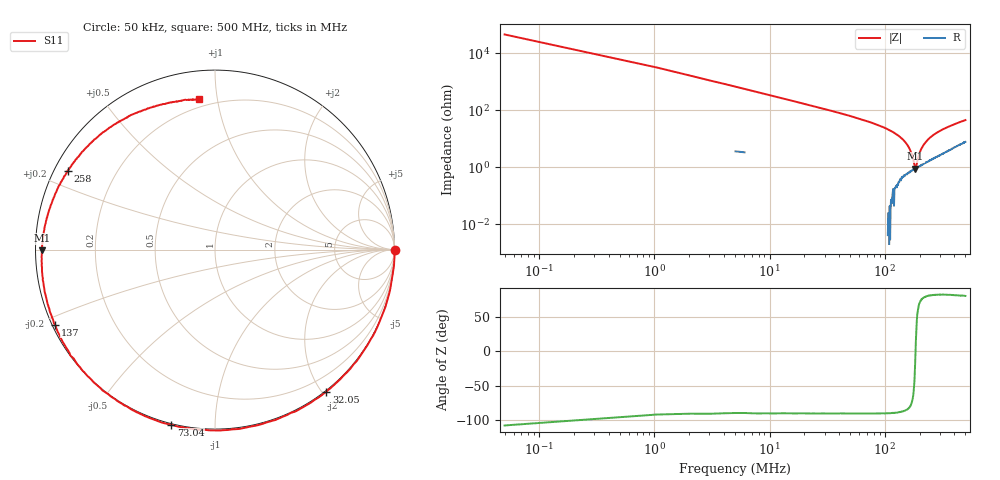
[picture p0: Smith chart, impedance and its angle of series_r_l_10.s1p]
# MHz S MA R 50
!  freq  S11
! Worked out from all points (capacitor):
!   501 points, 50 kHz to 500 MHz, reference 50 ohm
!   read as one part to ground: C = 47.6 pF near 2.05 MHz
!   lowest |Z| = 890 mohm at 184 MHz (marker M1)
!   series resonance near 184.6 MHz, so ESL is about 16 nH
!   S11 on the Smith chart (normalised r, x): 50 kHz: open; 32.05 MHz: -0.01, -2.05; 73.04 MHz: -0.01, -0.78; 137 MHz: 0.01, -0.22; 258 MHz: 0.04, +0.25; 500 MHz: 0.16, +0.89
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0.05  1.001 -0.1
2.0498  1.001 -3.5
8.0492  1.001 -13.6
15.0485  1.002 -25.2
24.0476  1.003 -39.7
32.0468  1.005 -52.0
38.0462  1.006 -60.8
47.0453  1.005 -73.2
55.0445  1.007 -83.5
63.0437  1.006 -93.0
73.0427  1.007 -104.1
86.0414  1.005 -116.6
98.0402  1.002 -127.1
110.039  0.9985 -136.7
125.0375  0.992 -147.4
137.0363  0.9855 -154.9
158.0342  0.9755 -166.9
184.0316  0.9652 -179.8
188.0312  0.9632 178.4
218.0282  0.9489 166.0
250.025  0.9337 154.5
258.0242  0.9315 151.9
285.0215  0.9184 143.5
313.0187  0.9062 135.5
338.0162  0.8954 129.1
375.0125  0.8806 120.3
438.0062  0.8567 107.2
500  0.8412 96.0
